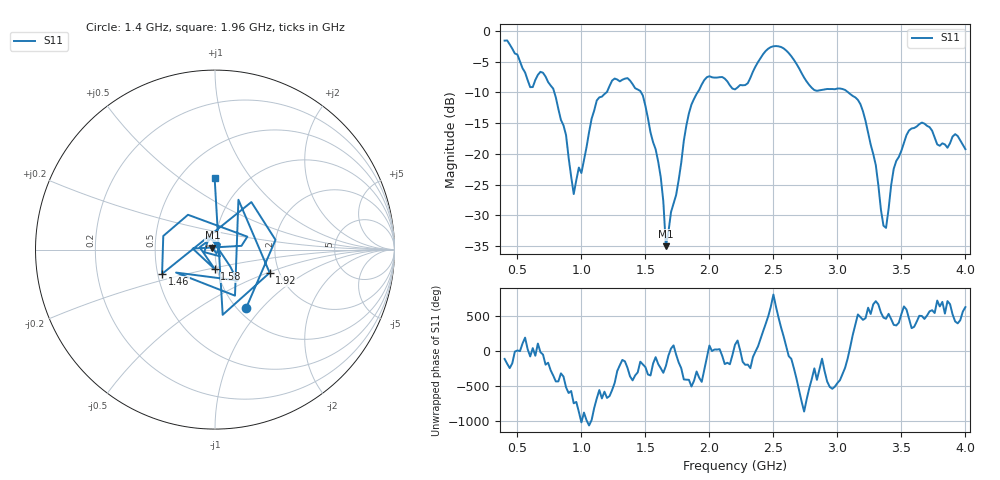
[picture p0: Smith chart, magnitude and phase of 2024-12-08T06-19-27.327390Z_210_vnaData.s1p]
!Created with skrf (http://scikit-rf.org).
# Hz S RI R 50.0
!freq ReS11 ImS11
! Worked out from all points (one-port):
!   181 points, 400 MHz to 4 GHz, reference 50 ohm
!   lowest |S11| = -35.0 dB at 1.66 GHz (marker M1), VSWR 1.04, Z = 48.6 + j1.02 ohm
!   |S11| at or under -10 dB: 788.4 MHz to 1.196 GHz (408.1 MHz wide, 41.1 % of centre); 1.466 GHz to 1.908 GHz (442 MHz wide, 26.2 % of centre); 3.084 GHz to end of sweep
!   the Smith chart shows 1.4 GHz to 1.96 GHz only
!   S11 on the Smith chart (normalised r, x): 1.4 GHz: 1.10, -0.82; 1.46 GHz: 0.53, -0.16; 1.58 GHz: 0.97, -0.21; 1.92 GHz: 1.78, -0.52; 1.96 GHz: 0.72, +0.68
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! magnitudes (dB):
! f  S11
! 400 MHz  -1.6
! 600 MHz  -9.2
! 700 MHz  -6.8
! 860 MHz  -15.4
! 940 MHz  -26.5
! 1.12 GHz  -11.3
! 1.3 GHz  -8.2
! 1.4 GHz  -8.7
! 1.46 GHz  -9.8
! 1.58 GHz  -19.3
! 1.64 GHz  -27.7
! 1.66 GHz  -35.0
! 1.76 GHz  -24.2
! 1.84 GHz  -13.4
! 1.92 GHz  -9.6
! 1.96 GHz  -8.0
! 2.2 GHz  -9.5
! 2.48 GHz  -2.6
! 2.66 GHz  -4.7
! 2.82 GHz  -9.6
! 3.1 GHz  -10.3
! 3.2 GHz  -13.1
! 3.38 GHz  -32.0
! 3.44 GHz  -22.5
! 3.56 GHz  -16.2
! 3.66 GHz  -14.9
! 3.78 GHz  -18.5
! 4 GHz  -19.2
